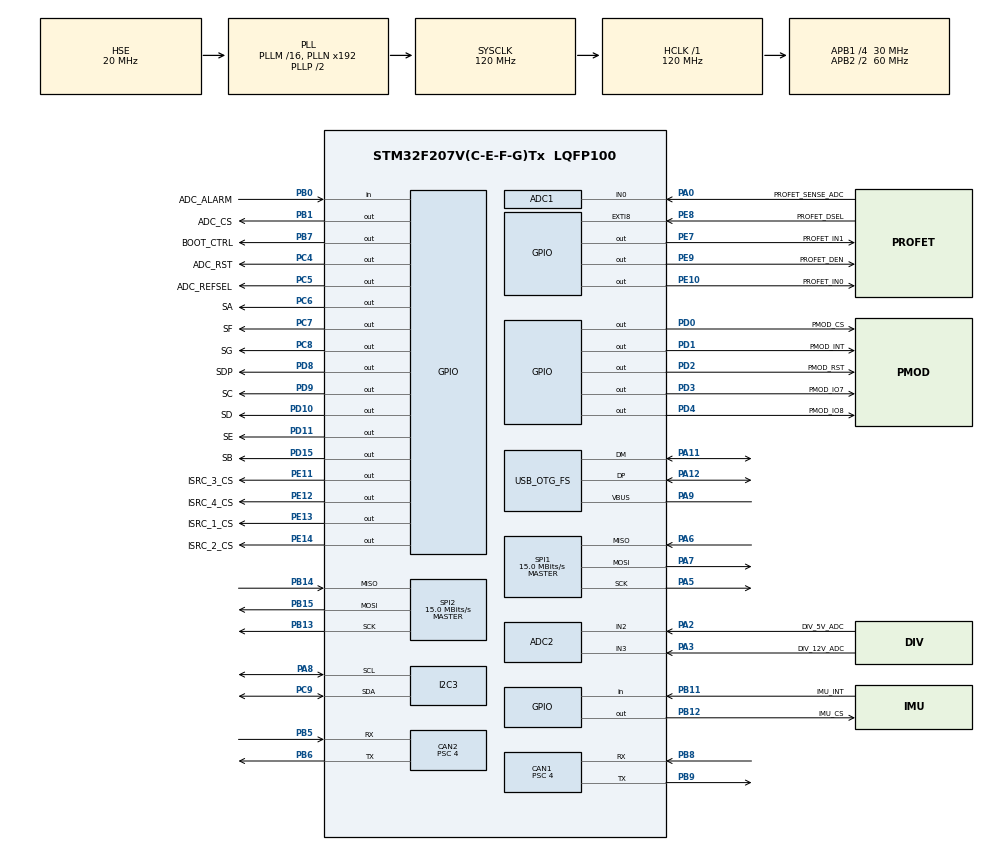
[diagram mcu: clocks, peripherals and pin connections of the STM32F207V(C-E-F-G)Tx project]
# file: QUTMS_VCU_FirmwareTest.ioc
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ADC1.Channel-0\#ChannelRegularConversion=ADC_CHANNEL_0
ADC1.ClockPrescaler=ADC_CLOCK_SYNC_PCLK_DIV4
ADC1.NbrOfConversionFlag=1
ADC1.Rank-0\#ChannelRegularConversion=1
ADC1.SamplingTime-0\#ChannelRegularConversion=ADC_SAMPLETIME_3CYCLES
ADC1.master=1
ADC2.Channel-0\#ChannelRegularConversion=ADC_CHANNEL_2
ADC2.ClockPrescaler=ADC_CLOCK_SYNC_PCLK_DIV4
ADC2.NbrOfConversionFlag=1
ADC2.Rank-0\#ChannelRegularConversion=1
ADC2.SamplingTime-0\#ChannelRegularConversion=ADC_SAMPLETIME_3CYCLES
CAN1.BS1=CAN_BS1_12TQ
CAN1.BS2=CAN_BS2_2TQ
CAN1.CalculateBaudRate=499999
CAN1.CalculateTimeBit=2000
CAN1.CalculateTimeQuantum=133.33333333333334
CAN1.Prescaler=4
CAN2.BS1=CAN_BS1_12TQ
CAN2.BS2=CAN_BS2_2TQ
CAN2.CalculateBaudRate=499999
CAN2.CalculateTimeBit=2000
CAN2.CalculateTimeQuantum=133.33333333333334
CAN2.Prescaler=4
Dma.Request0=SPI1_TX
Dma.Request1=SPI1_RX
Dma.SPI1_RX.1.Direction=DMA_PERIPH_TO_MEMORY
Dma.SPI1_RX.1.FIFOMode=DMA_FIFOMODE_DISABLE
Dma.SPI1_RX.1.Instance=DMA2_Stream0
Dma.SPI1_RX.1.MemDataAlignment=DMA_MDATAALIGN_BYTE
Dma.SPI1_RX.1.MemInc=DMA_MINC_ENABLE
Dma.SPI1_RX.1.Mode=DMA_NORMAL
Dma.SPI1_RX.1.PeriphDataAlignment=DMA_PDATAALIGN_BYTE
Dma.SPI1_RX.1.PeriphInc=DMA_PINC_DISABLE
Dma.SPI1_RX.1.Priority=DMA_PRIORITY_LOW
Dma.SPI1_TX.0.Direction=DMA_MEMORY_TO_PERIPH
Dma.SPI1_TX.0.FIFOMode=DMA_FIFOMODE_DISABLE
Dma.SPI1_TX.0.Instance=DMA2_Stream3
Dma.SPI1_TX.0.MemDataAlignment=DMA_MDATAALIGN_BYTE
Dma.SPI1_TX.0.MemInc=DMA_MINC_ENABLE
Dma.SPI1_TX.0.Mode=DMA_NORMAL
Dma.SPI1_TX.0.PeriphDataAlignment=DMA_PDATAALIGN_BYTE
Dma.SPI1_TX.0.PeriphInc=DMA_PINC_DISABLE
Dma.SPI1_TX.0.Priority=DMA_PRIORITY_LOW
Mcu.Family=STM32F2
Mcu.Name=STM32F207V(C-E-F-G)Tx
Mcu.Package=LQFP100
NVIC.CAN1_RX1_IRQn=true\:0\:0\:false\:false\:true\:true\:true\:true
NVIC.CAN1_TX_IRQn=true\:0\:0\:false\:false\:true\:true\:true\:true
NVIC.CAN2_RX1_IRQn=true\:0\:0\:false\:false\:true\:true\:true\:true
NVIC.CAN2_TX_IRQn=true\:0\:0\:false\:false\:true\:true\:true\:true
NVIC.DMA2_Stream0_IRQn=true\:0\:0\:false\:false\:true\:false\:true\:true
NVIC.DMA2_Stream3_IRQn=true\:0\:0\:false\:false\:true\:false\:true\:true
NVIC.OTG_FS_IRQn=true\:0\:0\:false\:false\:true\:false\:true\:true
NVIC.PriorityGroup=NVIC_PRIORITYGROUP_4
NVIC.SPI1_IRQn=true\:0\:0\:false\:false\:true\:true\:true\:true
NVIC.TIM2_IRQn=true\:0\:0\:false\:false\:true\:true\:true\:true
NVIC.TIM4_IRQn=true\:0\:0\:false\:false\:true\:true\:true\:true
NVIC.TIM5_IRQn=true\:0\:0\:false\:false\:true\:true\:true\:true
PA0-WKUP.GPIO_Label=PROFET_SENSE_ADC
PA0-WKUP.Signal=ADCx_IN0
PA11.Mode=Device_Only
PA11.Signal=USB_OTG_FS_DM
PA12.Mode=Device_Only
PA12.Signal=USB_OTG_FS_DP
PA13.Mode=JTAG_5_pins
PA13.Signal=SYS_JTMS-SWDIO
PA14.Mode=JTAG_5_pins
PA14.Signal=SYS_JTCK-SWCLK
PA15.Mode=JTAG_5_pins
PA15.Signal=SYS_JTDI
PA2.GPIO_Label=DIV_5V_ADC
PA2.Signal=ADCx_IN2
PA3.GPIO_Label=DIV_12V_ADC
PA3.Signal=ADCx_IN3
PA5.GPIO_PuPd=GPIO_NOPULL
PA5.Mode=Full_Duplex_Master
PA5.Signal=SPI1_SCK
PA6.Mode=Full_Duplex_Master
PA6.Signal=SPI1_MISO
PA7.Mode=Full_Duplex_Master
PA7.Signal=SPI1_MOSI
PA8.Mode=I2C
PA8.Signal=I2C3_SCL
PA9.Mode=Activate_VBUS
PA9.Signal=USB_OTG_FS_VBUS
PB0.GPIO_Label=ADC_ALARM
PB0.Signal=GPIO_Input
PB1.GPIO_Label=ADC_CS
PB1.GPIO_PuPd=GPIO_PULLUP
PB1.Signal=GPIO_Output
PB11.GPIO_Label=IMU_INT
PB11.Signal=GPIO_Input
PB12.GPIO_Label=IMU_CS
PB12.GPIO_PuPd=GPIO_PULLUP
PB12.Signal=GPIO_Output
PB13.Mode=Full_Duplex_Master
PB13.Signal=SPI2_SCK
PB14.Mode=Full_Duplex_Master
PB14.Signal=SPI2_MISO
PB15.Mode=Full_Duplex_Master
PB15.Signal=SPI2_MOSI
PB3.Mode=JTAG_5_pins
PB3.Signal=SYS_JTDO-SWO
PB4.Mode=JTAG_5_pins
PB4.Signal=SYS_JTRST
PB5.Mode=CAN_Activate
PB5.Signal=CAN2_RX
PB6.Mode=CAN_Activate
PB6.Signal=CAN2_TX
PB7.GPIO_Label=BOOT_CTRL
PB7.GPIO_PuPd=GPIO_PULLDOWN
PB7.Signal=GPIO_Output
PB8.Mode=CAN_Activate
PB8.Signal=CAN1_RX
PB9.Mode=CAN_Activate
PB9.Signal=CAN1_TX
PC4.GPIO_Label=ADC_RST
PC4.Signal=GPIO_Output
PC5.GPIO_Label=ADC_REFSEL
PC5.Signal=GPIO_Output
PC6.GPIO_Label=SA
PC6.Signal=GPIO_Output
PC7.GPIO_Label=SF
PC7.Signal=GPIO_Output
PC8.GPIO_Label=SG
PC8.Signal=GPIO_Output
PC9.Mode=I2C
PC9.Signal=I2C3_SDA
PD0.GPIO_Label=PMOD_CS
PD0.GPIO_PuPd=GPIO_NOPULL
PD0.Signal=GPIO_Output
PD1.GPIO_Label=PMOD_INT
PD1.Signal=GPIO_Output
PD10.GPIO_Label=SD
PD10.Signal=GPIO_Output
PD11.GPIO_Label=SE
PD11.Signal=GPIO_Output
PD15.GPIO_Label=SB
PD15.Signal=GPIO_Output
PD2.GPIO_Label=PMOD_RST
PD2.Signal=GPIO_Output
PD3.GPIO_Label=PMOD_IO7
PD3.Signal=GPIO_Output
PD4.GPIO_Label=PMOD_IO8
PD4.Signal=GPIO_Output
PD8.GPIO_Label=SDP
PD8.Signal=GPIO_Output
PD9.GPIO_Label=SC
PD9.Signal=GPIO_Output
PE10.GPIO_Label=PROFET_IN0
PE10.Signal=GPIO_Output
PE11.GPIO_Label=ISRC_3_CS
PE11.GPIO_PuPd=GPIO_PULLUP
PE11.Signal=GPIO_Output
PE12.GPIO_Label=ISRC_4_CS
PE12.GPIO_PuPd=GPIO_PULLUP
PE12.Signal=GPIO_Output
PE13.GPIO_Label=ISRC_1_CS
PE13.GPIO_PuPd=GPIO_PULLUP
PE13.Signal=GPIO_Output
PE14.GPIO_Label=ISRC_2_CS
PE14.GPIO_PuPd=GPIO_PULLUP
PE14.Signal=GPIO_Output
PE7.GPIO_Label=PROFET_IN1
PE7.Signal=GPIO_Output
PE8.GPIO_Label=PROFET_DSEL
PE8.Signal=GPXTI8
PE9.GPIO_Label=PROFET_DEN
PE9.Signal=GPIO_Output
PH0-OSC_IN.Mode=HSE-External-Oscillator
PH0-OSC_IN.Signal=RCC_OSC_IN
PH1-OSC_OUT.Mode=HSE-External-Oscillator
PH1-OSC_OUT.Signal=RCC_OSC_OUT
ProjectManager.HeapSize=0x1000
ProjectManager.StackSize=0x200
ProjectManager.TargetToolchain=STM32CubeIDE
RCC.48MHZClocksFreq_Value=48000000
RCC.AHBFreq_Value=120000000
RCC.APB1CLKDivider=RCC_HCLK_DIV4
RCC.APB1Freq_Value=30000000
RCC.APB1TimFreq_Value=60000000
RCC.APB2CLKDivider=RCC_HCLK_DIV2
RCC.APB2Freq_Value=60000000
RCC.APB2TimFreq_Value=120000000
RCC.CortexFreq_Value=120000000
RCC.HCLKFreq_Value=120000000
RCC.HSE_VALUE=20000000
RCC.HSI_VALUE=16000000
RCC.LSE_VALUE=32768
RCC.PLLQ=5
RCC.PLLSourceVirtual=RCC_PLLSOURCE_HSE
RCC.SYSCLKFreq_VALUE=120000000
RCC.SYSCLKSource=RCC_SYSCLKSOURCE_PLLCLK
RCC.VCOOutputFreq_Value=240000000
SH.ADCx_IN0.0=ADC1_IN0,IN0
SH.ADCx_IN2.0=ADC2_IN2,IN2
SH.ADCx_IN3.0=ADC2_IN3,IN3
SPI1.BaudRatePrescaler=SPI_BAUDRATEPRESCALER_4
SPI1.CLKPhase=SPI_PHASE_2EDGE
SPI1.CLKPolarity=SPI_POLARITY_LOW
SPI1.CalculateBaudRate=15.0 MBits/s
SPI1.Direction=SPI_DIRECTION_2LINES
SPI1.Mode=SPI_MODE_MASTER
SPI1.VirtualType=VM_MASTER
SPI2.BaudRatePrescaler=SPI_BAUDRATEPRESCALER_2
SPI2.CalculateBaudRate=15.0 MBits/s
SPI2.Direction=SPI_DIRECTION_2LINES
SPI2.Mode=SPI_MODE_MASTER
SPI2.VirtualType=VM_MASTER
TIM2.AutoReloadPreload=TIM_AUTORELOAD_PRELOAD_ENABLE
TIM2.Period=25
TIM2.Prescaler=59
TIM4.AutoReloadPreload=TIM_AUTORELOAD_PRELOAD_ENABLE
TIM4.Period=1999
TIM4.Prescaler=15999
TIM5.AutoReloadPreload=TIM_AUTORELOAD_PRELOAD_ENABLE
TIM5.Period=99999
TIM5.Prescaler=15999
USB_DEVICE.CLASS_NAME_FS=CDC
USB_DEVICE.VirtualMode-CDC_FS=Cdc
USB_DEVICE.VirtualModeFS=Cdc_FS
USB_OTG_FS.VirtualMode=Device_Only
VP_TIM2_VS_ClockSourceINT.Mode=Internal
VP_TIM4_VS_ClockSourceINT.Mode=Internal
VP_TIM5_VS_ClockSourceINT.Mode=Internal
VP_USB_DEVICE_VS_USB_DEVICE_CDC_FS.Mode=CDC_FS
board=custom

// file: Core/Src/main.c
/* USER CODE BEGIN Header */
/**
 ******************************************************************************
 * @file           : main.c
 * @brief          : Main program body
 ******************************************************************************
 * @attention
 *
 * Copyright (c) 2022 STMicroelectronics.
 * All rights reserved.
 *
 * This software is licensed under terms that can be found in the LICENSE file
 * in the root directory of this software component.
 * If no LICENSE file comes with this software, it is provided AS-IS.
 *
 ******************************************************************************
 */
/* USER CODE END Header */
#include "main.h"
#include "adc.h"
#include "can.h"
#include "dma.h"
#include "i2c.h"
#include "spi.h"
#include "tim.h"
#include "usb_device.h"
#include "gpio.h"

/* USER CODE BEGIN Includes */
#include "7seg.h"
#include "ads8668.h"
#include "max5548.h"
#include "12vSW.h"
#include "bootloader.h"
#include "testcases.h"
/* USER CODE END Includes */

/* USER CODE BEGIN PV */
extern uint32_t duty_cycle;
extern volatile uint32_t pwm_counter;
extern uint32_t freq_CTRL;

extern volatile uint32_t top;
extern volatile uint32_t cutoff;
/* USER CODE END PV */

void SystemClock_Config(void);

int main(void)
{
  /* USER CODE BEGIN 1 */
	// USER CHANGE THIS VARIABLE TO CHANGE TEST CASE, REFER TO `core/Inc/testcases.h` FOR ENUM
	//uint8_t tests[12] = {CAN1_TX_RX, CAN2_TX_RX, SW0_TOGGLE_12V, SW1_TOGGLE_12V, SW0_FREQ, SW1_FREQ, ADC_SAMPLING, USB_C_INPUT, USB_C_OUTPUT, IMU_READING, SEG7_LOOP};

  /* USER CODE END 1 */

  /* MCU Configuration--------------------------------------------------------*/

  /* Reset of all peripherals, Initializes the Flash interface and the Systick. */
  HAL_Init();

  /* Configure the system clock */
  SystemClock_Config();

  /* Initialize all configured peripherals */
  MX_GPIO_Init();
  MX_DMA_Init();
  MX_CAN1_Init();
  MX_ADC1_Init();
  MX_ADC2_Init();
  MX_CAN2_Init();
  MX_I2C3_Init();
  MX_SPI1_Init();
  MX_SPI2_Init();
  MX_USB_DEVICE_Init();
  MX_TIM2_Init();
  MX_TIM5_Init();
  MX_TIM4_Init();
  /* USER CODE BEGIN 2 */
 //HAL_TIM_Base_Start_IT(&htim2);
 //HAL_TIM_Base_Start_IT(&htim4);
 //HAL_TIM_Base_Start_IT(&htim5);
  //HAL_SPI_MspInit(&hspi1);

/*
	HAL_GPIO_WritePin(ISRC_1_CS_GPIO_Port, ISRC_1_CS_Pin, GPIO_PIN_SET);
	HAL_GPIO_WritePin(ISRC_2_CS_GPIO_Port, ISRC_2_CS_Pin, GPIO_PIN_SET);
	HAL_GPIO_WritePin(ISRC_3_CS_GPIO_Port, ISRC_3_CS_Pin, GPIO_PIN_SET);
	HAL_GPIO_WritePin(ISRC_4_CS_GPIO_Port, ISRC_4_CS_Pin, GPIO_PIN_SET);
	HAL_GPIO_WritePin(IMU_CS_GPIO_Port, IMU_CS_Pin, GPIO_PIN_SET);
	HAL_GPIO_WritePin(ADC_CS_GPIO_Port, ADC_CS_Pin, GPIO_PIN_SET);
	HAL_GPIO_WritePin(PMOD_CS_GPIO_Port, PMOD_CS_Pin, GPIO_PIN_SET);
*/
	if(!(setup_CAN1()) || !(setup_CAN2())) {
		// CAN1 or CAN2 unable to setup, error
		set_7seg(0xE, true);

		while(1) {

		}
	}

	HAL_Delay(50);

	//ADS8668_Init();
	//MAX5548_init(0);

	//run_tests();
	adc_dac_test();

  /* USER CODE END 2 */

  /* Infinite loop */
	while (1) {

	}
}

void SystemClock_Config(void)
{
  RCC_OscInitTypeDef RCC_OscInitStruct = {0};
  RCC_ClkInitTypeDef RCC_ClkInitStruct = {0};

  /** Initializes the RCC Oscillators according to the specified parameters
  * in the RCC_OscInitTypeDef structure.
  */
  RCC_OscInitStruct.OscillatorType = RCC_OSCILLATORTYPE_HSE;

  RCC_OscInitStruct.HSEState = RCC_HSE_ON;
  RCC_OscInitStruct.PLL.PLLState = RCC_PLL_ON;
  RCC_OscInitStruct.PLL.PLLSource = RCC_PLLSOURCE_HSE;
  RCC_OscInitStruct.PLL.PLLM = 16;
  RCC_OscInitStruct.PLL.PLLN = 192;
  RCC_OscInitStruct.PLL.PLLP = RCC_PLLP_DIV2;
  RCC_OscInitStruct.PLL.PLLQ = 5;
  if (HAL_RCC_OscConfig(&RCC_OscInitStruct) != HAL_OK)
  {
    Error_Handler();
  }

  /** Initializes the CPU, AHB and APB buses clocks
  */
  RCC_ClkInitStruct.ClockType = RCC_CLOCKTYPE_HCLK|RCC_CLOCKTYPE_SYSCLK
                              |RCC_CLOCKTYPE_PCLK1|RCC_CLOCKTYPE_PCLK2;
  RCC_ClkInitStruct.SYSCLKSource = RCC_SYSCLKSOURCE_PLLCLK;
  RCC_ClkInitStruct.AHBCLKDivider = RCC_SYSCLK_DIV1;
  RCC_ClkInitStruct.APB1CLKDivider = RCC_HCLK_DIV4;
  RCC_ClkInitStruct.APB2CLKDivider = RCC_HCLK_DIV2;

  if (HAL_RCC_ClockConfig(&RCC_ClkInitStruct, FLASH_LATENCY_3) != HAL_OK)
  {
    Error_Handler();
  }
}

void Error_Handler(void)
{
	__disable_irq();
	while (1) {
	}
}
